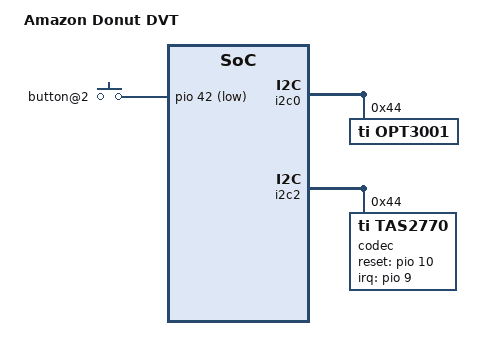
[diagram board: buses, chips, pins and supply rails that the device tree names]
/*
 * Copyright (C) 2018 Amazon.com
 *
 * This program is free software: you can redistribute it and/or modify
 * it under the terms of the GNU General Public License version 2 as
 * published by the Free Software Foundation.
 *
 * This program is distributed in the hope that it will be useful,
 * but WITHOUT ANY WARRANTY; without even the implied warranty of
 * MERCHANTABILITY or FITNESS FOR A PARTICULAR PURPOSE. See the
 * GNU General Public License for more details.
 *
 */

/dts-v1/;

#include "donut.dtsi"

/ {
	model = "Amazon Donut DVT";
	compatible = "amzn,donut-dvt", "amzn,donut";

};

&gpio_keys {
	button@2 {
		gpios = <&pio 42 1>;
	};
};

&gpio_privacy {
	state-gpios = <&pio 108 GPIO_ACTIVE_LOW>;
};

&i2c0 {
	tmp112_i2c0_4B: tmp112@4B {
		compatible = "ti,tmp112em";
		#thermal-sensor-cells = <0>;
		reg = <0x4B>;
	};

	tmp108_i2c0_4A: tmp108@4A {
		compatible = "ti,tmp108";
		#thermal-sensor-cells = <0>;
		reg = <0x4A>;
	};

	opt3001@44 {
		compatible = "ti,opt3001";
		reg = <0x44>;
	};
};

&i2c2 {
	tmp108_i2c2_4B: tmp108@4B {
		compatible = "ti,tmp108";
		#thermal-sensor-cells = <0>;
		reg = <0x4B>;
	};

	tmp108_i2c2_4A: tmp108@4A {
		compatible = "ti,tmp108";
		#thermal-sensor-cells = <0>;
		reg = <0x4A>;
	};

	codec: tas2770@44 {
		compatible = "ti,tas2770";
		reg = <0x44>;
		ti,reset-gpio = <&pio 10 0>;
		ti,irq-gpio = <&pio 9 0>;
		ti,asi-format = <0>; /* 0, i2S; 1, DSP;  */
		ti,ppg = <0>; /* 0, 0dB default; 1， enable -2dB */
		status = "ok";
	};
};

&rt5748_vproc_reg {
	compatible = "richtek,rt5738l";
	/delete-property/ rt,vsel_gpio;
};

#include "donut_thermal_zones.dtsi"

/delete-node/ &tmp112_i2c0_48_s;
/delete-node/ &tmp108_i2c0_49_s;
/delete-node/ &tmp103_i2c0_71_s;
/delete-node/ &tmp108_i2c0_4A_s;
/delete-node/ &tmp108_i2c2_49_s;
/delete-node/ &tmp112_i2c0_4B_s;
/delete-node/ &tmp108_i2c2_4A_s;
/delete-node/ &tmp108_i2c2_4B_s;

/delete-node/ &issi_8ch;
/delete-node/ &als_cm3232;
/delete-node/ &tmp108_i2c2_49;
/delete-node/ &tmp103_70;
/delete-node/ &tmp103_73;
/delete-node/ &tmp112_i2c0_48;
/delete-node/ &tmp108_i2c0_49;
/delete-node/ &tmp103_i2c0_71;
/delete-node/ &tmp108_i2c0_4A;
/delete-node/ &tmp112_i2c0_4B;
/delete-node/ &tmp108_i2c2_4A;
/delete-node/ &tmp108_i2c2_4B;
